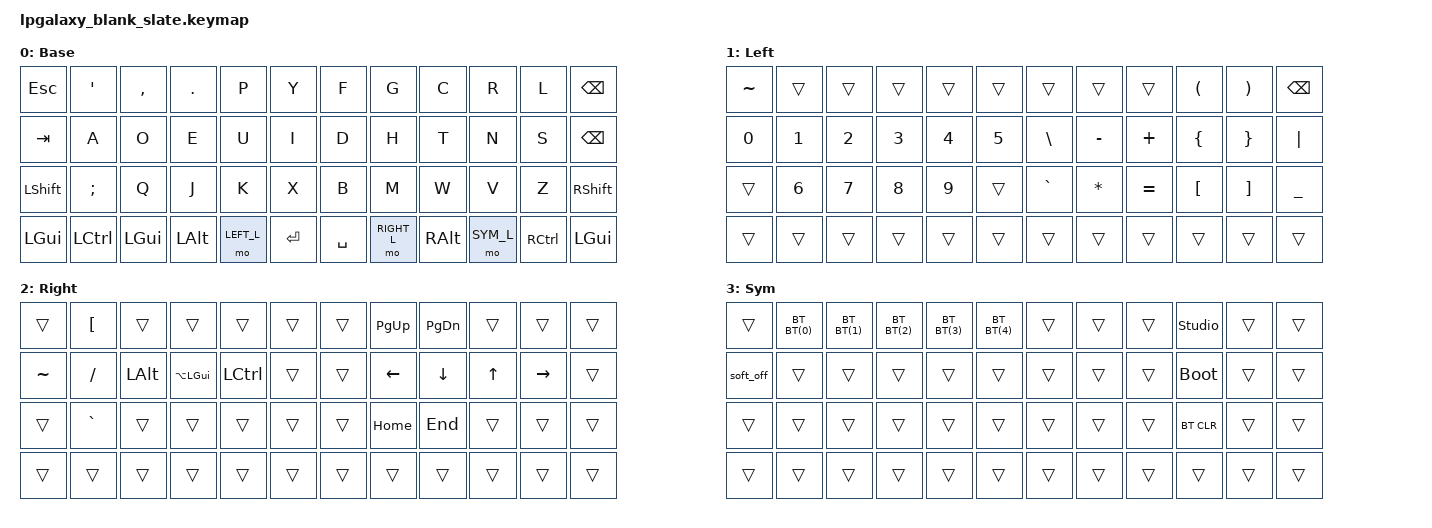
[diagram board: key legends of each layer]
/*
 * Copyright (c) 2022 Pete Johanson
 *
 * SPDX-License-Identifier: MIT
 */

#include <behaviors.dtsi>
#include <dt-bindings/zmk/keys.h>
#include <dt-bindings/zmk/bt.h>
#include <dt-bindings/zmk/outputs.h>

#define DVORAK_BASE 1

#define TBLE_ORTHO   1
// #define TBLE_MIT     1
// #define TBLE_DUAL_2U 1

#define LEFT_L 1
#define RIGHT_L 2
#define SYM_L 3

// Using layer taps on thumbs, having quick tap as well helps w/ repeating space/backspace
&lt { quick_tap_ms = <200>; };

#define BT(n) BT_SEL n

// &soft_off {
//     hold-time-ms = <1000>; // Only turn off it the key is held for 1 second or longer.
// };

/ {
    chosen {
       zmk,physical-layout =
#ifdef TBLE_DUAL_2U
                       &layout_ortho_4x12_2x2u;
#elif defined(TBLE_MIT)
                       &layout_ortho_4x12_1x2u;
#else
                       &layout_ortho_4x12_all1u;
#endif
    };

    macros {
    //   ZMK_MACRO(thumbs_up,
	// 	wait-ms = <1>;
	// 	tap-ms = <5>;
    //             bindings = <&kp PLUS &kp COLON &kp PLUS &kp N1 &kp COLON &kp RET>;
	// 	)
    };
    
    tap_dances {
    	// shifty: shift_caps_word {
        //     compatible = "zmk,behavior-tap-dance";
        //     label = "TD_SHIFTY";
        //     #binding-cells = <0>;
        //     tapping-term-ms = <150>;
        //     bindings = <&kp LSHFT>, <&caps_word>;
	    // };
    };

// Conditional layer only when we have less thumb keys
// #ifdef TBLE_DUAL_2U
    cond_layers {
        compatible = "zmk,conditional-layers";
    	tri {
            if-layers = <RIGHT_L LEFT_L>;
            then-layer = <SYM_L>;
        };
    };
// #endif


keymap {
        compatible = "zmk,keymap";

        base_layer {
            label = "Base";
            bindings = <
&kp ESC    &kp SQT    &kp COMMA  &kp DOT     &kp P          &kp Y          &kp F            &kp G          &kp C       &kp R      &kp L         &kp BKSP
&kp TAB    &kp A      &kp O      &kp E       &kp U          &kp I          &kp D            &kp H          &kp T       &kp N      &kp S         &kp BSPC
&kp LSHFT  &kp SEMI   &kp Q      &kp J       &kp K          &kp X          &kp B            &kp M          &kp W       &kp V      &kp Z         &kp RSHFT
&kp LGUI   &kp LCTRL  &kp LGUI   &kp LALT    &mo LEFT_L     &kp ENTER      &kp SPACE        &mo RIGHT_L    &kp RALT    &mo SYM_L  &kp RCTRL     &kp LGUI
            >;
        };

        left_layer {
            label = "Left";
            bindings = <
&kp TILDE  &trans     &trans     &trans      &trans          &trans       &trans     &trans         &trans      &kp LPAR   &kp RPAR  &kp BSPC
&kp N0     &kp N1     &kp N2     &kp N3      &kp N4          &kp N5       &kp BSLH   &kp MINUS      &kp PLUS    &kp LBRC   &kp RBRC  &kp PIPE
&trans     &kp N6     &kp N7     &kp N8      &kp N9          &trans       &kp GRAVE  &kp ASTRK      &kp EQUAL   &kp LBKT   &kp RBKT  &kp UNDER
&trans     &trans     &trans     &trans      &trans          &trans       &trans     &trans         &trans      &trans     &trans    &trans
            >;
        };

        right_layer {
            label = "Right";
            bindings = <
&trans     &kp LBKT   &trans   &trans       &trans    &trans    &trans    &kp PG_UP  &kp PG_DN   &trans       &trans     &trans
&kp TILDE  &kp SLASH  &kp LALT &kp LA(LGUI) &kp LCTL  &trans    &trans    &kp LEFT   &kp DOWN    &kp UP       &kp RIGHT  &trans
&trans     &kp GRAVE  &trans   &trans       &trans    &trans    &trans    &kp HOME   &kp END     &trans       &trans     &trans
&trans     &trans     &trans   &trans       &trans    &trans    &trans    &trans     &trans      &trans       &trans     &trans
            >;
        };

        sym_layer {
            label = "Sym";
            bindings = <
&trans     &bt BT(0)  &bt BT(1)  &bt BT(2)    &bt BT(3)  &bt BT(4)        &trans     &trans    &trans  &studio_unlock  &trans       &trans
&soft_off     &trans     &trans     &trans       &trans     &trans           &trans     &trans    &trans  &bootloader     &trans       &trans
&trans     &trans     &trans     &trans       &trans     &trans           &trans     &trans    &trans  &bt BT_CLR      &trans       &trans
&trans     &trans     &trans     &trans       &trans     &trans           &trans     &trans    &trans  &trans          &trans       &trans
            >;
        };


    };
};

